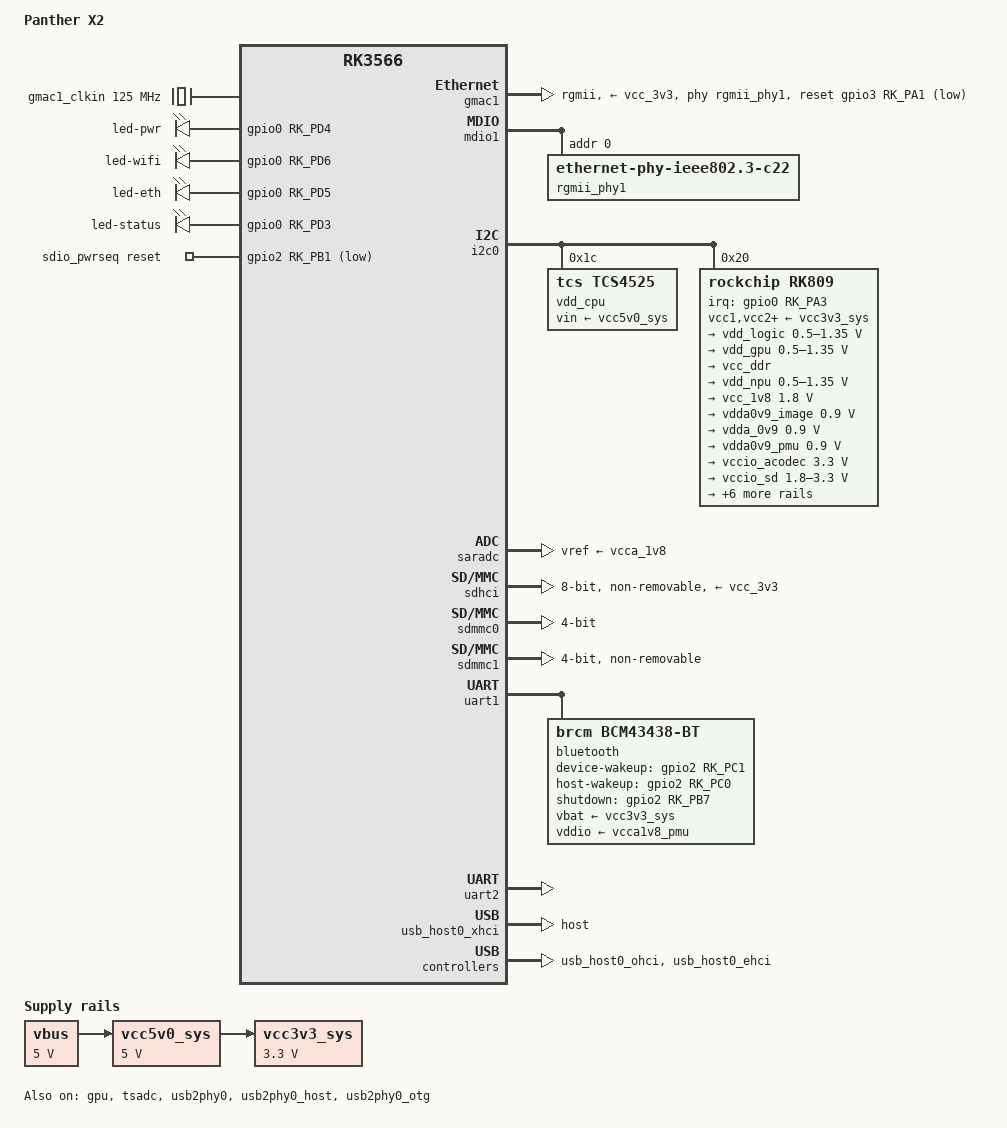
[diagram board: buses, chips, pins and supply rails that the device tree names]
// SPDX-License-Identifier: (GPL-2.0+ OR MIT)
/*
 * Copyright (c) 2023 tdleiyao <tdleiyao@gmail.com>
 */

/dts-v1/;

#include <dt-bindings/gpio/gpio.h>
#include <dt-bindings/input/input.h>
#include <dt-bindings/pinctrl/rockchip.h>
#include "rk3566.dtsi"

/ {
	model = "Panther X2";
	compatible = "panther,x2", "rockchip,rk3566";

	aliases {
		ethernet0 = &gmac1;
		mmc0 = &sdhci;
		mmc1 = &sdmmc0;
		mmc2 = &sdmmc1;
	};

	chosen: chosen {
		stdout-path = "serial2:1500000n8";
	};

	gmac1_clkin: external-gmac1-clock {
		compatible = "fixed-clock";
		clock-frequency = <125000000>;
		clock-output-names = "gmac1_clkin";
		#clock-cells = <0>;
	};

	leds {
		compatible = "gpio-leds";

		led_pwr: led-pwr {
			label = "led-pwr";
			default-state = "on";
			gpios = <&gpio0 RK_PD4 GPIO_ACTIVE_HIGH>;
			pinctrl-names = "default";
			pinctrl-0 = <&led_pwr_enable_h>;
			retain-state-suspended;
			status = "okay";
		};

		led_wifi: led-wifi {
			label = "led-wifi";
			default-state = "off";
			gpios = <&gpio0 RK_PD6 GPIO_ACTIVE_HIGH>;
			pinctrl-names = "default";
			pinctrl-0 = <&led_wifi_enable_h>;
			retain-state-suspended;
			status = "okay";
		};

		led_eth: led-eth {
			label = "led-eth";
			default-state = "off";
			gpios = <&gpio0 RK_PD5 GPIO_ACTIVE_HIGH>;
			pinctrl-names = "default";
			pinctrl-0 = <&led_eth_enable_h>;
			retain-state-suspended;
			status = "okay";
		};

		led_status: led-status {
			label = "led-status";
			default-state = "on";
			gpios = <&gpio0 RK_PD3 GPIO_ACTIVE_HIGH>;
			linux,default-trigger = "heartbeat";
			pinctrl-names = "default";
			pinctrl-0 = <&led_status_enable_h>;
			retain-state-suspended;
			status = "okay";
		};
	};

	vbus: vbus-regulator {
		compatible = "regulator-fixed";
		regulator-name = "vbus";
		regulator-always-on;
		regulator-boot-on;
		regulator-min-microvolt = <5000000>;
		regulator-max-microvolt = <5000000>;
	};

	vcc5v0_sys: vcc5v0-sys-regulator {
		compatible = "regulator-fixed";
		regulator-name = "vcc5v0_sys";
		regulator-always-on;
		regulator-boot-on;
		regulator-min-microvolt = <5000000>;
		regulator-max-microvolt = <5000000>;
		vin-supply = <&vbus>;
	};

	vcc3v3_sys: vcc3v3-sys-regulator {
		compatible = "regulator-fixed";
		regulator-name = "vcc3v3_sys";
		regulator-always-on;
		regulator-boot-on;
		regulator-min-microvolt = <3300000>;
		regulator-max-microvolt = <3300000>;
		vin-supply = <&vcc5v0_sys>;
	};

	sdio_pwrseq: sdio-pwrseq {
		compatible = "mmc-pwrseq-simple";
		clocks = <&rk809 1>;
		clock-names = "ext_clock";
		pinctrl-names = "default";
		pinctrl-0 = <&wifi_enable_h>;
		reset-gpios = <&gpio2 RK_PB1 GPIO_ACTIVE_LOW>;
		post-power-on-delay-ms = <100>;
	};
};

&cpu0 {
	cpu-supply = <&vdd_cpu>;
};

&cpu1 {
	cpu-supply = <&vdd_cpu>;
};

&cpu2 {
	cpu-supply = <&vdd_cpu>;
};

&cpu3 {
	cpu-supply = <&vdd_cpu>;
};

&gpu {
	mali-supply = <&vdd_gpu>;
	status = "okay";
};

&gmac1 {
	assigned-clocks = <&cru SCLK_GMAC1_RX_TX>, <&cru SCLK_GMAC1_RGMII_SPEED>, <&cru SCLK_GMAC1>;
	assigned-clock-parents = <&cru SCLK_GMAC1_RGMII_SPEED>, <&cru SCLK_GMAC1>, <&gmac1_clkin>;
	clock_in_out = "input";
	phy-supply = <&vcc_3v3>;
	phy-mode = "rgmii";
	pinctrl-names = "default";
	pinctrl-0 = <&gmac1m0_miim
		     &gmac1m0_tx_bus2
		     &gmac1m0_rx_bus2
		     &gmac1m0_rgmii_clk
		     &gmac1m0_clkinout
		     &gmac1m0_rgmii_bus>;
	snps,reset-gpio = <&gpio3 RK_PA1 GPIO_ACTIVE_LOW>;
	snps,reset-active-low;
	snps,reset-delays-us = <0 20000 100000>;
	tx_delay = <0x30>;
	rx_delay = <0x10>;
	phy-handle = <&rgmii_phy1>;
	status = "okay";
};

&mdio1 {
	rgmii_phy1: ethernet-phy@0 {
		compatible = "ethernet-phy-ieee802.3-c22";
		reg = <0>;
		status = "okay";
	};
};

&i2c0 {
	status = "okay";

	vdd_cpu: regulator@1c {
		compatible = "tcs,tcs4525";
		reg = <0x1c>;
		fcs,suspend-voltage-selector = <1>;
		regulator-name = "vdd_cpu";
		regulator-min-microvolt = <800000>;
		regulator-max-microvolt = <1150000>;
		regulator-ramp-delay = <2300>;
		regulator-always-on;
		regulator-boot-on;
		vin-supply = <&vcc5v0_sys>;

		regulator-state-mem {
			regulator-off-in-suspend;
		};
	};

	rk809: pmic@20 {
		compatible = "rockchip,rk809";
		reg = <0x20>;
		interrupt-parent = <&gpio0>;
		interrupts = <RK_PA3 IRQ_TYPE_LEVEL_LOW>;
		#clock-cells = <1>;
		clock-output-names = "rk808-clkout1", "rk808-clkout2";
		pinctrl-names = "default";
		pinctrl-0 = <&pmic_int_l>;
		rockchip,system-power-controller;
		wakeup-source;

		vcc1-supply = <&vcc3v3_sys>;
		vcc2-supply = <&vcc3v3_sys>;
		vcc3-supply = <&vcc3v3_sys>;
		vcc4-supply = <&vcc3v3_sys>;
		vcc5-supply = <&vcc3v3_sys>;
		vcc6-supply = <&vcc3v3_sys>;
		vcc7-supply = <&vcc3v3_sys>;
		vcc8-supply = <&vcc3v3_sys>;
		vcc9-supply = <&vcc3v3_sys>;

		regulators {
			vdd_logic: DCDC_REG1 {
				regulator-name = "vdd_logic";
				regulator-always-on;
				regulator-boot-on;
				regulator-min-microvolt = <500000>;
				regulator-max-microvolt = <1350000>;
				regulator-init-microvolt = <900000>;
				regulator-ramp-delay = <6001>;
				regulator-initial-mode = <0x2>;
				regulator-state-mem {
					regulator-on-in-suspend;
					regulator-suspend-microvolt = <900000>;
				};
			};

			vdd_gpu: DCDC_REG2 {
				regulator-name = "vdd_gpu";
				regulator-always-on;
				regulator-boot-on;
				regulator-min-microvolt = <500000>;
				regulator-max-microvolt = <1350000>;
				regulator-init-microvolt = <900000>;
				regulator-ramp-delay = <6001>;
				regulator-initial-mode = <0x2>;
					regulator-state-mem {
					regulator-off-in-suspend;
				};
			};

			vcc_ddr: DCDC_REG3 {
				regulator-always-on;
				regulator-boot-on;
				regulator-initial-mode = <0x2>;
				regulator-name = "vcc_ddr";
				regulator-state-mem {
					regulator-on-in-suspend;
				};
			};

			vdd_npu: DCDC_REG4 {
				regulator-always-on;
				regulator-boot-on;
				regulator-min-microvolt = <500000>;
				regulator-max-microvolt = <1350000>;
				regulator-init-microvolt = <900000>;
				regulator-initial-mode = <0x2>;
				regulator-name = "vdd_npu";
				regulator-state-mem {
					regulator-off-in-suspend;
				};
			};

			vcc_1v8: DCDC_REG5 {
				regulator-name = "vcc_1v8";
				regulator-always-on;
				regulator-boot-on;
				regulator-min-microvolt = <1800000>;
				regulator-max-microvolt = <1800000>;
				regulator-state-mem {
					regulator-on-in-suspend;
					regulator-suspend-microvolt = <1800000>;
				};
			};

			vdda0v9_image: LDO_REG1 {
				regulator-always-on;
				regulator-boot-on;
				regulator-min-microvolt = <900000>;
				regulator-max-microvolt = <900000>;
				regulator-name = "vdda0v9_image";
				regulator-state-mem {
					regulator-on-in-suspend;
					regulator-suspend-microvolt = <900000>;
				};
			};

			vdda_0v9: LDO_REG2 {
				regulator-always-on;
				regulator-boot-on;
				regulator-min-microvolt = <900000>;
				regulator-max-microvolt = <900000>;
				regulator-name = "vdda_0v9";
				regulator-state-mem {
					regulator-off-in-suspend;
				};
			};

			vdda0v9_pmu: LDO_REG3 {
				regulator-always-on;
				regulator-boot-on;
				regulator-min-microvolt = <900000>;
				regulator-max-microvolt = <900000>;
				regulator-name = "vdda0v9_pmu";
				regulator-state-mem {
					regulator-on-in-suspend;
					regulator-suspend-microvolt = <900000>;
				};
			};

			vccio_acodec: LDO_REG4 {
				regulator-always-on;
				regulator-boot-on;
				regulator-min-microvolt = <3300000>;
				regulator-max-microvolt = <3300000>;
				regulator-name = "vccio_acodec";
				regulator-state-mem {
					regulator-off-in-suspend;
				};
			};

			vccio_sd: LDO_REG5 {
				regulator-always-on;
				regulator-boot-on;
				regulator-min-microvolt = <1800000>;
				regulator-max-microvolt = <3300000>;
				regulator-name = "vccio_sd";
				regulator-state-mem {
					regulator-off-in-suspend;
				};
			};

			vcc3v3_pmu: LDO_REG6 {
				regulator-always-on;
				regulator-boot-on;
				regulator-min-microvolt = <3300000>;
				regulator-max-microvolt = <3300000>;
				regulator-name = "vcc3v3_pmu";
				regulator-state-mem {
					regulator-on-in-suspend;
					regulator-suspend-microvolt = <3300000>;
				};
			};

			vcca_1v8: LDO_REG7 {
				regulator-always-on;
				regulator-boot-on;
				regulator-min-microvolt = <1800000>;
				regulator-max-microvolt = <1800000>;
				regulator-name = "vcca_1v8";
				regulator-state-mem {
					regulator-off-in-suspend;
				};
			};

			vcca1v8_pmu: LDO_REG8 {
				regulator-always-on;
				regulator-boot-on;
				regulator-min-microvolt = <1800000>;
				regulator-max-microvolt = <1800000>;
				regulator-name = "vcca1v8_pmu";
				regulator-state-mem {
					regulator-off-in-suspend;
				};
			};

			vcca1v8_image: LDO_REG9 {
				regulator-always-on;
				regulator-boot-on;
				regulator-min-microvolt = <1800000>;
				regulator-max-microvolt = <1800000>;
				regulator-name = "vcca1v8_image";
				regulator-state-mem {
					regulator-off-in-suspend;
				};
			};

			vcc_3v3: SWITCH_REG1 {
				regulator-name = "vcc_3v3";
				regulator-state-mem {
					regulator-off-in-suspend;
				};
			};

			vcc3v3_sd: SWITCH_REG2 {
				regulator-name = "vcc3v3_sd";
				status = "disabled";
				regulator-state-mem {
					regulator-on-in-suspend;
				};
			};

		};
	};
};

&i2s1_8ch {
	pinctrl-names = "default";
	pinctrl-0 = <&i2s1m1_sclktx &i2s1m1_sclkrx
		     &i2s1m1_lrcktx &i2s1m1_lrckrx
		     &i2s1m1_sdi0   &i2s1m1_sdi1
		     &i2s1m1_sdi2   &i2s1m1_sdi3
		     &i2s1m1_sdo0   &i2s1m1_sdo1
		     &i2s1m1_sdo2   &i2s1m1_sdo3>;
	status = "disabled";
};

&pinctrl {
	sdio-pwrseq {
		wifi_enable_h: wifi-enable-h {
			rockchip,pins = <2 RK_PB1 RK_FUNC_GPIO &pcfg_pull_none>;
		};
	};

	wireless-wlan {
		wifi_host_wake_irq: wifi-host-wake-irq {
			rockchip,pins = <2 RK_PB2 RK_FUNC_GPIO &pcfg_pull_down>;
		};
	};

	bt {
		bt_enable_h: bt-enable-h {
			rockchip,pins = <2 RK_PB7 RK_FUNC_GPIO &pcfg_pull_none>;
		};

		bt_host_wake_l: bt-host-wake-l {
			rockchip,pins = <2 RK_PC0 RK_FUNC_GPIO &pcfg_pull_none>;
		};

		bt_wake_l: bt-wake-l {
			rockchip,pins = <2 RK_PC1 RK_FUNC_GPIO &pcfg_pull_none>;
		};
	};

	leds {
		led_pwr_enable_h: led-pwr-enable-h {
			rockchip,pins = <0 RK_PD4 RK_FUNC_GPIO &pcfg_pull_none>;
		};

		led_wifi_enable_h: led-wifi-enable-h {
			rockchip,pins = <0 RK_PD6 RK_FUNC_GPIO &pcfg_pull_none>;
		};

		led_eth_enable_h: led-eth-enable-h {
			rockchip,pins = <0 RK_PD5 RK_FUNC_GPIO &pcfg_pull_none>;
		};

		led_status_enable_h: led-status-enable-h {
			rockchip,pins = <0 RK_PD3 RK_FUNC_GPIO &pcfg_pull_none>;
		};
	};

	pmic {
		pmic_int_l: pmic-int-l {
			rockchip,pins = <0 RK_PA3 RK_FUNC_GPIO &pcfg_pull_up>;
		};
	};
};

&pmu_io_domains {
	pmuio1-supply = <&vcc3v3_pmu>;
	pmuio2-supply = <&vcc3v3_pmu>;
	vccio1-supply = <&vcc_3v3>;
	vccio2-supply = <&vcc_1v8>;
	vccio3-supply = <&vccio_sd>;
	vccio4-supply = <&vcc_1v8>;
	vccio5-supply = <&vcc_3v3>;
	vccio6-supply = <&vcc_3v3>;
	vccio7-supply = <&vcc_3v3>;
	status = "okay";
};

&saradc {
	vref-supply = <&vcca_1v8>;
	status = "okay";
};

&sdhci {
	bus-width = <8>;
	mmc-hs200-1_8v;
	non-removable;
	vmmc-supply = <&vcc_3v3>;
	vqmmc-supply = <&vcc_1v8>;
	status = "okay";
};

&sdmmc0 {
	broken-cd;
	bus-width = <4>;
	cap-sd-highspeed;
	disable-wp;
	pinctrl-names = "default";
	pinctrl-0 = <&sdmmc0_bus4 &sdmmc0_clk &sdmmc0_cmd &sdmmc0_det>;
	vqmmc-supply = <&vccio_sd>;
	status = "okay";
};

&sdmmc1 {
	supports-sdio;
	bus-width = <4>;
	disable-wp;
	cap-sd-highspeed;
	cap-sdio-irq;
	keep-power-in-suspend;
	pinctrl-names = "default";
	pinctrl-0 = <&sdmmc1_bus4 &sdmmc1_cmd &sdmmc1_clk>;
	non-removable;
	mmc-pwrseq = <&sdio_pwrseq>;
	status = "okay";
};

&tsadc {
	status = "okay";
};

&uart1 {
	pinctrl-names = "default";
	pinctrl-0 = <&uart1m0_xfer &uart1m0_ctsn &uart1m0_rtsn>;
	status = "okay";

	bluetooth {
		compatible = "brcm,bcm43438-bt";
		clocks = <&rk809 1>;
		clock-names = "lpo";
		device-wakeup-gpios = <&gpio2 RK_PC1 GPIO_ACTIVE_HIGH>;
		host-wakeup-gpios = <&gpio2 RK_PC0 GPIO_ACTIVE_HIGH>;
		shutdown-gpios = <&gpio2 RK_PB7 GPIO_ACTIVE_HIGH>;
		max-speed = <1500000>;
		pinctrl-names = "default";
		pinctrl-0 = <&bt_host_wake_l &bt_wake_l &bt_enable_h>;
		vbat-supply = <&vcc3v3_sys>;
		vddio-supply = <&vcca1v8_pmu>;
	};
};

&uart2 {
	status = "okay";
};

&usb_host0_xhci {
	dr_mode = "host";
	status = "okay";
};

&usb_host0_ohci {
	status = "okay";
};

&usb_host0_ehci {
	status = "okay";
};

&usb2phy0 {
	status = "okay";
};

&usb2phy0_host {
	status = "okay";
};

&usb2phy0_otg {
	status = "okay";
};
